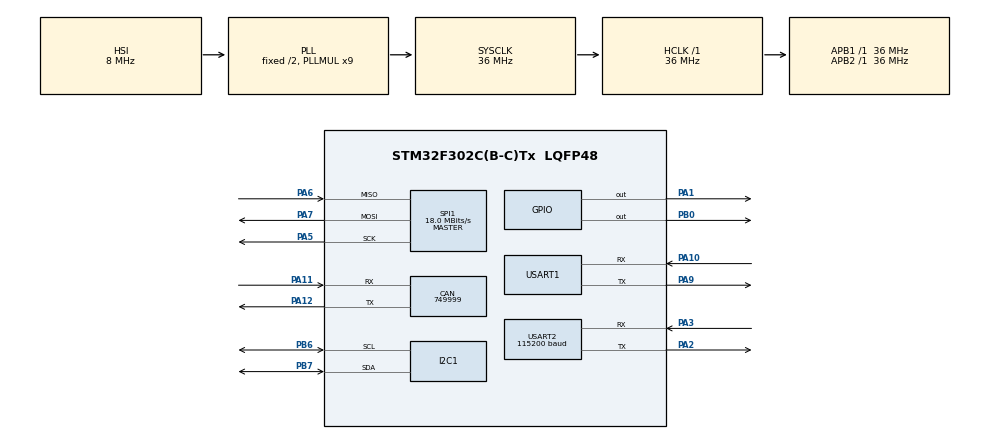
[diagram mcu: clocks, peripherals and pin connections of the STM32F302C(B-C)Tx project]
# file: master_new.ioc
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CAN.CalculateBaudRate=749999
CAN.CalculateTimeBit=1333
CAN.CalculateTimeQuantum=444.44444444444446
FATFS._MAX_SS=4096
FATFS._USE_STRFUNC=2
I2C1.Timing=0x00201D2B
Mcu.Family=STM32F3
Mcu.Name=STM32F302C(B-C)Tx
Mcu.Package=LQFP48
NVIC.PriorityGroup=NVIC_PRIORITYGROUP_4
NVIC.USART2_IRQn=true\:0\:0\:false\:false\:true\:true\:true\:true
PA1.Signal=GPIO_Output
PA10.Mode=Asynchronous
PA10.Signal=USART1_RX
PA11.Mode=CAN_Activate
PA11.Signal=CAN_RX
PA12.Mode=CAN_Activate
PA12.Signal=CAN_TX
PA13.Mode=Trace_Asynchronous_SW
PA13.Signal=SYS_JTMS-SWDIO
PA14.Mode=Trace_Asynchronous_SW
PA14.Signal=SYS_JTCK-SWCLK
PA2.Mode=Asynchronous
PA2.Signal=USART2_TX
PA3.Mode=Asynchronous
PA3.Signal=USART2_RX
PA5.Mode=Full_Duplex_Master
PA5.Signal=SPI1_SCK
PA6.Mode=Full_Duplex_Master
PA6.Signal=SPI1_MISO
PA7.Mode=Full_Duplex_Master
PA7.Signal=SPI1_MOSI
PA9.Mode=Asynchronous
PA9.Signal=USART1_TX
PB0.Signal=GPIO_Output
PB3.Mode=Trace_Asynchronous_SW
PB3.Signal=SYS_JTDO-TRACESWO
PB6.Mode=I2C
PB6.Signal=I2C1_SCL
PB7.Mode=I2C
PB7.Signal=I2C1_SDA
ProjectManager.HeapSize=0x200
ProjectManager.StackSize=0x400
ProjectManager.TargetToolchain=STM32CubeIDE
RCC.AHBFreq_Value=36000000
RCC.APB1Freq_Value=36000000
RCC.APB1TimFreq_Value=36000000
RCC.APB2Freq_Value=36000000
RCC.APB2TimFreq_Value=36000000
RCC.CortexFreq_Value=36000000
RCC.HCLKFreq_Value=36000000
RCC.HSE_VALUE=8000000
RCC.HSI_VALUE=8000000
RCC.LSE_VALUE=32768
RCC.PLLMUL=RCC_PLL_MUL9
RCC.SYSCLKFreq_VALUE=36000000
RCC.SYSCLKSourceVirtual=RCC_SYSCLKSOURCE_PLLCLK
RCC.USBFreq_Value=36000000
SPI1.CalculateBaudRate=18.0 MBits/s
SPI1.Direction=SPI_DIRECTION_2LINES
SPI1.Mode=SPI_MODE_MASTER
SPI1.VirtualType=VM_MASTER
USART1.VirtualMode-Asynchronous=VM_ASYNC
USART2.BaudRate=115200
USART2.VirtualMode-Asynchronous=VM_ASYNC
VP_FATFS_VS_Generic.Mode=User_defined
board=custom

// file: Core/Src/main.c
/* USER CODE BEGIN Header */
/**
  ******************************************************************************
  * @file           : main.c
  * @brief          : Main program body
  ******************************************************************************
  * @attention
  *
  * Copyright (c) 2025 STMicroelectronics.
  * All rights reserved.
  *
  * This software is licensed under terms that can be found in the LICENSE file
  * in the root directory of this software component.
  * If no LICENSE file comes with this software, it is provided AS-IS.
  *
  ******************************************************************************
  */
/* USER CODE END Header */
#include "main.h"
#include "fatfs.h"

/* USER CODE BEGIN Includes */
#include "stdio.h"
#include "fatfs_sd.h"
#include "string.h"

#include "../../app/Screen.h"

#include "../../lib/AT24Cxx.h"
#include "../../lib/DS3231.h"
#include "../../os/os.h"

#include "../../app/app_main.h"
/* USER CODE END Includes */

CAN_HandleTypeDef hcan;

I2C_HandleTypeDef hi2c1;

SPI_HandleTypeDef hspi1;

UART_HandleTypeDef huart1;
UART_HandleTypeDef huart2;

/* USER CODE BEGIN PV */
CAN_TxHeaderTypeDef TxHeader;
CAN_RxHeaderTypeDef RxHeader;

uint8_t TxData[8];
uint8_t RxData[8];

uint32_t TxMailbox;

IsoTpLink CAN_iso[3];
static uint8_t can_iso_recv_buf[250];
static uint8_t can_iso_send_buf[250];

static uint8_t can_iso_recv_buf1[250];
static uint8_t can_iso_send_buf1[250];

static uint8_t can_iso_recv_buf2[250];
static uint8_t can_iso_send_buf2[250];

uint8_t dataRX[100];
uint8_t dataRX_ESP32[80];
uint8_t data_output[20] ={0};
//char *data_test[] = {
//  "$4053"                // NAME
//  "Description"          // Description
//  "16"                   // Num pin
//  "16"                   // Num case
//  "11L1100G0001011V",
//  "11L1100G0011101V",
//  "11L1100G0101110V",
//  "11L1100G0110111V",
//  "01L1100G1001111V",
//  "11L1000G1011111V",
//  "10L1100G1101111V",
//  "11L0100G1111111V"
//};
//
//char data_send_test[] = {
//  "11L1100G0001011V"
//  "11L1100G0011101V"
//  "11L1100G0101110V"
//  "11L1100G0110111V"
//  "01L1100G1001111V"
//  "11L1000G1011111V"
//  "10L1100G1101111V"
//  "11L0100G1111111V"
//		"master"
//};
/* USER CODE END PV */

void SystemClock_Config(void);
static void MX_GPIO_Init(void);
static void MX_USART2_UART_Init(void);
static void MX_CAN_Init(void);
static void MX_I2C1_Init(void);
static void MX_SPI1_Init(void);
static void MX_USART1_UART_Init(void);

/* USER CODE BEGIN 0 */

// FATFS fs;  // file system
// FIL fil;   // file
// FRESULT fresult;  // store the data
// char buffer[150];

// UINT br, bw;

/* capacity related variable */
//FATFS *pfs;
//DWORD fre_clust;
//uint32_t total, free_space;

// int buf_size(char *buf) {
// 	int i=0;
// 	while(*buf++ != '\0') i++;
// 	return i;
// }

//void buf_clear(void) {
//	for (int i =0; i < 1024; i++) {
//		buffer[i] = '\0';
//	}
//}
/* USER CODE END 0 */

int main(void)
{

  /* MCU Configuration--------------------------------------------------------*/

  /* Reset of all peripherals, Initializes the Flash interface and the Systick. */
  HAL_Init();

  /* Configure the system clock */
  SystemClock_Config();

  /* Initialize all configured peripherals */
  MX_GPIO_Init();
  MX_USART2_UART_Init();
  MX_FATFS_Init();
  MX_CAN_Init();
  MX_I2C1_Init();
  MX_SPI1_Init();
  MX_USART1_UART_Init();
  /* USER CODE BEGIN 2 */

//  fresult = f_mount(&fs, "0:", 1);
//	if (fresult != FR_OK){
//	  printf ("ERROR with code:%d!!! in mounting SD CARD...\n\n",fresult);
//	}
//	else{
//	printf("SD CARD mounted successfully...\n\n");
//	/*************** Card capacity details ********************/
//	/* Check free space */
//	f_getfree("", &fre_clust, &pfs);
//	total = (uint32_t)((pfs->n_fatent - 2) * pfs->csize * 0.5);
//	printf("SD CARD Total Size: \t%lu\n",total);
//	buf_clear();
//	free_space = (uint32_t)(fre_clust * pfs->csize * 0.5);
//	printf("SD CARD Free Space: \t%lu\n\n",free_space);
//	buf_clear();
//	}

//	fresult = f_open(&fil, "file1.txt", FA_OPEN_ALWAYS | FA_READ | FA_WRITE);
//			/* Writing text */
//	f_puts("This data is from the FILE1.txt. And it was written using ...f_puts... ", &fil);
//	/* Close file */
//	fresult = f_close(&fil);
//	if (fresult == FR_OK)printf("File1.txt created and the data is written \n");
	/* Open file to read */
//	fresult = f_open(&fil, "file1.txt", FA_READ);
//	/* Read string from the file */
//	f_gets(buffer, f_size(&fil), &fil);
//	printf("File1.txt is opened and it contains the data as shown below\n");
//	printf("%s\n",buffer);
	/* Close file */
//	f_sync(&fil);
//	f_close(&fil);
//	buf_clear();

//	fresult = f_mount(NULL, "0:", 1);
//	if (fresult == FR_OK) printf ("SD CARD UNMOUNTED successfully...\n");

//  HAL_Delay(3000);
//    AT24Cxx_t pEeprom;
//  AT24Cxx_Init(&pEeprom, 0x50, &hi2c1);
//  char *text_program_1 = "Program test2,74hc560,20";
//  AT24Cxx_write_buffer_bloking(&pEeprom,START_ADDR_PROGRAM_TEST_X(0),(uint8_t *)text_program_1,strlen(text_program_1));

  HAL_UARTEx_ReceiveToIdle_IT(&huart2, dataRX, sizeof(dataRX)); // Enable interrupt UART
  HAL_UARTEx_ReceiveToIdle_IT(&huart1, dataRX_ESP32, sizeof(dataRX_ESP32)); // Enable interrupt UART

  HAL_CAN_Start(&hcan);
  HAL_CAN_ActivateNotification(&hcan, CAN_IT_RX_FIFO1_MSG_PENDING | CAN_IT_TX_MAILBOX_EMPTY | CAN_IT_BUSOFF );

//    for (uint8_t i = 0; i < 5; i++) {
//  	printf("SWO Debug!!!\n");
//    }

  BSP_init();

//  Post_task_init();
//  static OS_event_t const *q_app_post[10];
//  OS_task_create(AO_taskPost,
//  1,
//  q_app_post,
//  ARRAY_ELEMENT(q_app_post),
//  (OS_event_t *)0 );

//  eeprom_task_init(&hi2c1,EEPROM_ADDRESS);
//  static OS_event_t const *q_eeprom_event[10];
//  OS_task_create( AO_task_eeprom,
//  1,
//  q_eeprom_event,
//  ARRAY_ELEMENT(q_eeprom_event),
//  (OS_event_t *)0 );

//  uart_esp32_task_init(&huart1);
//  static OS_event_t const *q_uart_esp32_event[10];
//  OS_task_create(AO_task_uart_esp32,
//  1,
//  q_uart_esp32_event,
//  ARRAY_ELEMENT(q_uart_esp32_event),
//  (OS_event_t *)0);

  BlinkyTest_app_init();
  static OS_event_t const *TestOS_blinky[10]; /* Event queue */
  OS_task_create(
  AO_BlinkyTest,
  1,
  TestOS_blinky,
  ARRAY_ELEMENT(TestOS_blinky),
  (OS_event_t *)0);

  screen_task_init();
  static OS_event_t const *q_screen[10]; /* Event queue */
  OS_task_create(
  AO_task_screen,
  1,
  q_screen,
  ARRAY_ELEMENT(q_screen),
  (OS_event_t *)0);

  ds3231_task_init(&hi2c1,ADDRESS_DS3231);

//  sd_task_init();
//  static OS_event_t const *q_sd[10];
//  OS_task_create(
//  AO_task_sd,
//  1,
//  q_sd,
//  ARRAY_ELEMENT(q_sd),
//  (OS_event_t *)0);

//  can_bus_task_init(&hcan);
//  static OS_event_t const *Can_app_event[10];
//  OS_task_create( AO_task_can_bus,
//  1,
//  Can_app_event,
//  ARRAY_ELEMENT(Can_app_event),
//  (OS_event_t *)0);

//  HAL_Delay(4500);
  Screen_begin(&huart2);

//  TxHeader.DLC = 5;
//  TxHeader.StdId = 0x103;
//  TxHeader.IDE = CAN_ID_STD;
//  TxHeader.RTR = CAN_RTR_DATA;
//
//  uint8_t data_tx[5] = {'H','E','L','L','O'};
//  HAL_CAN_AddTxMessage(&hcan,&TxHeader, data_tx, &TxMailbox);

  // DS3231_t ds3231;
  // DS3231_Init(&ds3231,&hi2c1,ADDRESS_DS3231);
//  DS3231_Write_time(&ds3231,00,40,11,8,6,25);
//  uint8_t data_time[7];
//  DS3231_Read_time(&ds3231, data_time);
//  char string[50];
//  sprintf(string, "Time RTC: %d/%d/%d - %d:%d:%d\n",data_time[4],data_time[5],data_time[6],data_time[2],data_time[1],data_time[0]);
//  printf("%s",string);

//  isotp_init_link(&CAN_iso[0], 0x131, can_iso_send_buf , sizeof(can_iso_send_buf)
//		  	  	  	  	  	  	  	, can_iso_recv_buf, sizeof(can_iso_recv_buf));
     isotp_init_link(&CAN_iso[0], 0x131, can_iso_send_buf , sizeof(can_iso_send_buf)
		   	  	  	  	  	  	  	, can_iso_recv_buf, sizeof(can_iso_recv_buf));

  isotp_init_link(&CAN_iso[1], 0x132, can_iso_send_buf1 , sizeof(can_iso_send_buf1)
		  	  	  	  	  	  	  	, can_iso_recv_buf1, sizeof(can_iso_recv_buf1));

  isotp_init_link(&CAN_iso[2], 0x134, can_iso_send_buf2 , sizeof(can_iso_send_buf2)
		  	  	  	  	  	  	  	, can_iso_recv_buf2, sizeof(can_iso_recv_buf2));

  /* USER CODE END 2 */

  /* Infinite loop */
  /* USER CODE BEGIN WHILE */
//  uint32_t pre;
//  pre = 0;
  	  while (1)
  {
    /* USER CODE END WHILE */

    /* USER CODE BEGIN 3 */
	  // if (HAL_GetTick() - pre > 2000) {
	  //       uint8_t send_data[200];
	  //       memcpy(send_data,data_send_test,143);
	  //       isotp_send(&CAN_iso, send_data, 143);
	  //       pre = HAL_GetTick();
	  //     }
  }
  /* USER CODE END 3 */
}

void SystemClock_Config(void)
{
  RCC_OscInitTypeDef RCC_OscInitStruct = {0};
  RCC_ClkInitTypeDef RCC_ClkInitStruct = {0};
  RCC_PeriphCLKInitTypeDef PeriphClkInit = {0};

  /** Initializes the RCC Oscillators according to the specified parameters
  * in the RCC_OscInitTypeDef structure.
  */
  RCC_OscInitStruct.OscillatorType = RCC_OSCILLATORTYPE_HSI;
  RCC_OscInitStruct.HSIState = RCC_HSI_ON;
  RCC_OscInitStruct.HSICalibrationValue = RCC_HSICALIBRATION_DEFAULT;
  RCC_OscInitStruct.PLL.PLLState = RCC_PLL_ON;
  RCC_OscInitStruct.PLL.PLLSource = RCC_PLLSOURCE_HSI;
  RCC_OscInitStruct.PLL.PLLMUL = RCC_PLL_MUL9;
  if (HAL_RCC_OscConfig(&RCC_OscInitStruct) != HAL_OK)
  {
    Error_Handler();
  }

  /** Initializes the CPU, AHB and APB buses clocks
  */
  RCC_ClkInitStruct.ClockType = RCC_CLOCKTYPE_HCLK|RCC_CLOCKTYPE_SYSCLK
                              |RCC_CLOCKTYPE_PCLK1|RCC_CLOCKTYPE_PCLK2;
  RCC_ClkInitStruct.SYSCLKSource = RCC_SYSCLKSOURCE_PLLCLK;
  RCC_ClkInitStruct.AHBCLKDivider = RCC_SYSCLK_DIV1;
  RCC_ClkInitStruct.APB1CLKDivider = RCC_HCLK_DIV1;
  RCC_ClkInitStruct.APB2CLKDivider = RCC_HCLK_DIV1;

  if (HAL_RCC_ClockConfig(&RCC_ClkInitStruct, FLASH_LATENCY_1) != HAL_OK)
  {
    Error_Handler();
  }
  PeriphClkInit.PeriphClockSelection = RCC_PERIPHCLK_USART1|RCC_PERIPHCLK_USART2
                              |RCC_PERIPHCLK_I2C1;
  PeriphClkInit.Usart1ClockSelection = RCC_USART1CLKSOURCE_PCLK2;
  PeriphClkInit.Usart2ClockSelection = RCC_USART2CLKSOURCE_PCLK1;
  PeriphClkInit.I2c1ClockSelection = RCC_I2C1CLKSOURCE_HSI;
  if (HAL_RCCEx_PeriphCLKConfig(&PeriphClkInit) != HAL_OK)
  {
    Error_Handler();
  }
}

static void MX_CAN_Init(void)
{

  hcan.Instance = CAN;
  hcan.Init.Prescaler = 16;
  hcan.Init.Mode = CAN_MODE_NORMAL;
  hcan.Init.SyncJumpWidth = CAN_SJW_1TQ;
  hcan.Init.TimeSeg1 = CAN_BS1_1TQ;
  hcan.Init.TimeSeg2 = CAN_BS2_1TQ;
  hcan.Init.TimeTriggeredMode = DISABLE;
  hcan.Init.AutoBusOff = DISABLE;
  hcan.Init.AutoWakeUp = DISABLE;
  hcan.Init.AutoRetransmission = DISABLE;
  hcan.Init.ReceiveFifoLocked = DISABLE;
  hcan.Init.TransmitFifoPriority = DISABLE;
  if (HAL_CAN_Init(&hcan) != HAL_OK)
  {
    Error_Handler();
  }

}

static void MX_I2C1_Init(void)
{

  hi2c1.Instance = I2C1;
  hi2c1.Init.Timing = 0x00201D2B;
  hi2c1.Init.OwnAddress1 = 0;
  hi2c1.Init.AddressingMode = I2C_ADDRESSINGMODE_7BIT;
  hi2c1.Init.DualAddressMode = I2C_DUALADDRESS_DISABLE;
  hi2c1.Init.OwnAddress2 = 0;
  hi2c1.Init.OwnAddress2Masks = I2C_OA2_NOMASK;
  hi2c1.Init.GeneralCallMode = I2C_GENERALCALL_DISABLE;
  hi2c1.Init.NoStretchMode = I2C_NOSTRETCH_DISABLE;
  if (HAL_I2C_Init(&hi2c1) != HAL_OK)
  {
    Error_Handler();
  }

  /** Configure Analogue filter
  */
  if (HAL_I2CEx_ConfigAnalogFilter(&hi2c1, I2C_ANALOGFILTER_ENABLE) != HAL_OK)
  {
    Error_Handler();
  }

  /** Configure Digital filter
  */
  if (HAL_I2CEx_ConfigDigitalFilter(&hi2c1, 0) != HAL_OK)
  {
    Error_Handler();
  }

}

static void MX_SPI1_Init(void)
{

  /* SPI1 parameter configuration*/
  hspi1.Instance = SPI1;
  hspi1.Init.Mode = SPI_MODE_MASTER;
  hspi1.Init.Direction = SPI_DIRECTION_2LINES;
  hspi1.Init.DataSize = SPI_DATASIZE_4BIT;
  hspi1.Init.CLKPolarity = SPI_POLARITY_LOW;
  hspi1.Init.CLKPhase = SPI_PHASE_1EDGE;
  hspi1.Init.NSS = SPI_NSS_SOFT;
  hspi1.Init.BaudRatePrescaler = SPI_BAUDRATEPRESCALER_2;
  hspi1.Init.FirstBit = SPI_FIRSTBIT_MSB;
  hspi1.Init.TIMode = SPI_TIMODE_DISABLE;
  hspi1.Init.CRCCalculation = SPI_CRCCALCULATION_DISABLE;
  hspi1.Init.CRCPolynomial = 7;
  hspi1.Init.CRCLength = SPI_CRC_LENGTH_DATASIZE;
  hspi1.Init.NSSPMode = SPI_NSS_PULSE_ENABLE;
  if (HAL_SPI_Init(&hspi1) != HAL_OK)
  {
    Error_Handler();
  }

}

static void MX_USART1_UART_Init(void)
{

  huart1.Instance = USART1;
  huart1.Init.BaudRate = 38400;
  huart1.Init.WordLength = UART_WORDLENGTH_8B;
  huart1.Init.StopBits = UART_STOPBITS_1;
  huart1.Init.Parity = UART_PARITY_NONE;
  huart1.Init.Mode = UART_MODE_TX_RX;
  huart1.Init.HwFlowCtl = UART_HWCONTROL_NONE;
  huart1.Init.OverSampling = UART_OVERSAMPLING_16;
  huart1.Init.OneBitSampling = UART_ONE_BIT_SAMPLE_DISABLE;
  huart1.AdvancedInit.AdvFeatureInit = UART_ADVFEATURE_NO_INIT;
  if (HAL_UART_Init(&huart1) != HAL_OK)
  {
    Error_Handler();
  }

}

static void MX_USART2_UART_Init(void)
{

  huart2.Instance = USART2;
  huart2.Init.BaudRate = 115200;
  huart2.Init.WordLength = UART_WORDLENGTH_8B;
  huart2.Init.StopBits = UART_STOPBITS_1;
  huart2.Init.Parity = UART_PARITY_NONE;
  huart2.Init.Mode = UART_MODE_TX_RX;
  huart2.Init.HwFlowCtl = UART_HWCONTROL_NONE;
  huart2.Init.OverSampling = UART_OVERSAMPLING_16;
  huart2.Init.OneBitSampling = UART_ONE_BIT_SAMPLE_DISABLE;
  huart2.AdvancedInit.AdvFeatureInit = UART_ADVFEATURE_NO_INIT;
  if (HAL_UART_Init(&huart2) != HAL_OK)
  {
    Error_Handler();
  }

}

static void MX_GPIO_Init(void)
{
  GPIO_InitTypeDef GPIO_InitStruct = {0};

  /* GPIO Ports Clock Enable */
  __HAL_RCC_GPIOA_CLK_ENABLE();
  __HAL_RCC_GPIOB_CLK_ENABLE();

  /*Configure GPIO pin Output Level */
  HAL_GPIO_WritePin(GPIOA, GPIO_PIN_1, GPIO_PIN_RESET);

  /*Configure GPIO pin Output Level */
  HAL_GPIO_WritePin(GPIOB, GPIO_PIN_0, GPIO_PIN_RESET);

  /*Configure GPIO pin : PA1 */
  GPIO_InitStruct.Pin = GPIO_PIN_1;
  GPIO_InitStruct.Mode = GPIO_MODE_OUTPUT_PP;
  GPIO_InitStruct.Pull = GPIO_NOPULL;
  GPIO_InitStruct.Speed = GPIO_SPEED_FREQ_LOW;
  HAL_GPIO_Init(GPIOA, &GPIO_InitStruct);

  /*Configure GPIO pin : PB0 */
  GPIO_InitStruct.Pin = GPIO_PIN_0;
  GPIO_InitStruct.Mode = GPIO_MODE_OUTPUT_PP;
  GPIO_InitStruct.Pull = GPIO_NOPULL;
  GPIO_InitStruct.Speed = GPIO_SPEED_FREQ_LOW;
  HAL_GPIO_Init(GPIOB, &GPIO_InitStruct);

}

/* USER CODE BEGIN 4 */

void HAL_UARTEx_RxEventCallback(UART_HandleTypeDef *huart, uint16_t Size) {
	if( huart->Instance == huart2.Instance ) {
		// Call to callback function screen
		Screen_RX_data(dataRX);

		// Clear RX Buffer
		memset(dataRX,0,sizeof(dataRX));

		// Enable Interrupt UART again
		HAL_UARTEx_ReceiveToIdle_IT(&huart2, dataRX, sizeof(dataRX)); // Enable interrupt UART
	} else if (huart->Instance == huart1.Instance) {
    uart_esp32_t *RX_ESP32 = malloc(sizeof(uart_esp32_t));
    RX_ESP32->data = malloc(strlen(dataRX_ESP32));
    memcpy(RX_ESP32->data,dataRX_ESP32,strlen(dataRX_ESP32));
    RX_ESP32->len = strlen(dataRX_ESP32);
    OS_task_post_event(AO_task_uart_esp32,RECEIVE_DATA_ESP32,(uint8_t *)&RX_ESP32,sizeof(uart_esp32_t));

    memset(dataRX_ESP32,0,sizeof(dataRX_ESP32));

		HAL_UARTEx_ReceiveToIdle_IT(&huart1, dataRX_ESP32, sizeof(dataRX_ESP32)); // Enable interrupt UART
	}
}

void HAL_I2C_MemTxCpltCallback(I2C_HandleTypeDef *hi2c) {
	if (hi2c->Instance == hi2c1.Instance) {

	}
  /* Transmit complete wait eeprom write */
	if (AO_task_eeprom->dispatch != NULL && AO_task_eeprom->init != NULL ) {
	  OS_task_post_event(AO_task_eeprom, WAIT_WRITE_TIMEOUT, (uint8_t *)0, 0);
	}
}

void HAL_CAN_RxFifo1MsgPendingCallback(CAN_HandleTypeDef *hcan) {
	uint8_t payload[500];
  uint16_t act_size = 0;
  HAL_CAN_GetRxMessage(hcan, CAN_RX_FIFO1, &RxHeader, RxData);
//  if (RxHeader.StdId == 0x472) {
//    isotp_on_can_message(&CAN_iso[1], RxData, RxHeader.DLC);
//      if(RxData[0] == 0x30) {
//        OS_task_post_event(AO_task_can_bus,TX_SUCCESS,(uint8_t *)0,0);
//      }
//    if (CAN_iso[1].receive_status == ISOTP_RECEIVE_STATUS_FULL) {
//      isotp_receive(&CAN_iso[1], payload, sizeof(payload), &act_size);
//      get_data_testing_finish(&_Screen,DEVICE_1,payload);
//    }
//  }
   if (RxHeader.StdId == 0x471) {
     isotp_on_can_message(&CAN_iso[0], RxData, RxHeader.DLC);
       if(RxData[0] == 0x30) {
         OS_task_post_event(AO_task_can_bus,TX_SUCCESS,(uint8_t *)0,0);
       }
     //printf("%x,%c,%c,%c,%c,%c,%c,%c\n",RxData[0],RxData[1],RxData[2],RxData[3],RxData[4],RxData[5],RxData[6],RxData[7]);
     if (CAN_iso[0].receive_status == ISOTP_RECEIVE_STATUS_FULL) {
       isotp_receive(&CAN_iso[0], payload, sizeof(payload), &act_size);
       get_data_testing_finish(&_Screen,DEVICE_1,payload);
     }
   } else if (RxHeader.StdId == 0x472) {
     isotp_on_can_message(&CAN_iso[1], RxData, RxHeader.DLC);
     if(RxData[0] == 0x30) {
       OS_task_post_event(AO_task_can_bus,TX_SUCCESS,(uint8_t *)0,0);
     }
     //printf("%x,%c,%c,%c,%c,%c,%c,%c\n",RxData[0],RxData[1],RxData[2],RxData[3],RxData[4],RxData[5],RxData[6],RxData[7]);
     if (CAN_iso[1].receive_status == ISOTP_RECEIVE_STATUS_FULL) {
       isotp_receive(&CAN_iso[1], payload, sizeof(payload), &act_size);
       get_data_testing_finish(&_Screen,DEVICE_2,payload);
     }
   } else if (RxHeader.StdId == 0x474) {
     isotp_on_can_message(&CAN_iso[2], RxData, RxHeader.DLC);
     if(RxData[0] == 0x30) {
       OS_task_post_event(AO_task_can_bus,TX_SUCCESS,(uint8_t *)0,0);
     }
     //printf("%x,%c,%c,%c,%c,%c,%c,%c\n",RxData[0],RxData[1],RxData[2],RxData[3],RxData[4],RxData[5],RxData[6],RxData[7]);
     if (CAN_iso[2].receive_status == ISOTP_RECEIVE_STATUS_FULL) {
       isotp_receive(&CAN_iso[2], payload, sizeof(payload), &act_size);
       get_data_testing_finish(&_Screen,DEVICE_3,payload);
     }
   }
}

void HAL_CAN_ErrorCallback(CAN_HandleTypeDef *hcan) {
	uint32_t lastError = HAL_CAN_GetError(hcan);
}

int _write(int file, char *ptr, int len) {
    for (int i = 0; i < len; i++) {
        ITM_SendChar(ptr[i]);
    }
    return len;
}

/* FUNCTION USING IN CAN ISO TP */
int isotp_user_send_can(const uint32_t arbitration_id, const uint8_t* data, const uint8_t size) {
  TxHeader.DLC = size;
  TxHeader.StdId = arbitration_id;
  TxHeader.IDE = CAN_ID_STD;
  TxHeader.RTR = CAN_RTR_DATA;

  if (HAL_CAN_AddTxMessage(&hcan, &TxHeader, data, &TxMailbox) == HAL_OK) {
	  return ISOTP_RET_OK;
  }
  return ISOTP_RET_ERROR;
}

uint32_t isotp_user_get_ms(void) {
	return HAL_GetTick();
}

void isotp_user_debug(const char* message, ...) {

}

/* USER CODE END 4 */

void Error_Handler(void)
{
  __disable_irq();
  while (1)
  {
  }
}
